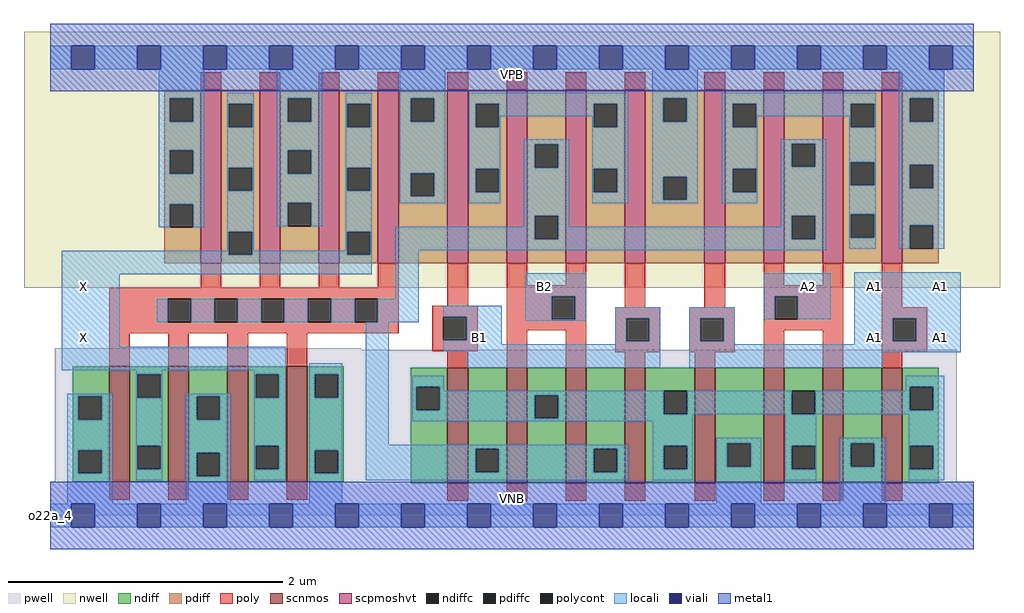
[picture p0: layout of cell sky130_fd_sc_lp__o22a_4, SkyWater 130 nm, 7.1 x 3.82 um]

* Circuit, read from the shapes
.subckt sky130_fd_sc_lp__o22a_4 A1 A2 B1 B2 VGND VNB VPB VPWR X
XM1 X n1 VGND VNB sky130_fd_pr__nfet_01v8 w=0.84 l=0.15 m=4
XM2 n1 B1 n2 VNB sky130_fd_pr__nfet_01v8 w=0.84 l=0.15 m=2
XM3 n2 B2 n1 VNB sky130_fd_pr__nfet_01v8 w=0.84 l=0.15 m=2
XM4 VGND A1 n2 VNB sky130_fd_pr__nfet_01v8 w=0.84 l=0.15 m=2
XM5 n2 A2 VGND VNB sky130_fd_pr__nfet_01v8 w=0.84 l=0.15 m=2
XM6 X n1 VPWR VPB sky130_fd_pr__pfet_01v8_hvt w=1.26 l=0.15 m=4
XM7 n3 B1 VPWR VPB sky130_fd_pr__pfet_01v8_hvt w=1.26 l=0.15 m=2
XM8 n1 B2 n3 VPB sky130_fd_pr__pfet_01v8_hvt w=1.26 l=0.15 m=2
XM9 n4 A1 VPWR VPB sky130_fd_pr__pfet_01v8_hvt w=1.26 l=0.15 m=2
XM10 n1 A2 n4 VPB sky130_fd_pr__pfet_01v8_hvt w=1.26 l=0.15 m=2
.ends

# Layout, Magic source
magic
tech sky130A
magscale 1 2
<< nwell >>
rect -38 331 1382 704
<< pwell >>
rect 7 241 453 243
rect 7 49 1319 241
rect 0 0 1344 49
<< scnmos >>
rect 86 49 116 217
rect 172 49 202 217
rect 258 49 288 217
rect 344 49 374 217
rect 578 47 608 215
rect 664 47 694 215
rect 750 47 780 215
rect 836 47 866 215
rect 938 47 968 215
rect 1038 47 1068 215
rect 1124 47 1154 215
rect 1210 47 1240 215
<< scpmoshvt >>
rect 219 367 249 619
rect 305 367 335 619
rect 391 367 421 619
rect 477 367 507 619
rect 578 367 608 619
rect 664 367 694 619
rect 750 367 780 619
rect 836 367 866 619
rect 952 367 982 619
rect 1038 367 1068 619
rect 1124 367 1154 619
rect 1210 367 1240 619
<< ndiff >>
rect 33 173 86 217
rect 33 139 41 173
rect 75 139 86 173
rect 33 95 86 139
rect 33 61 41 95
rect 75 61 86 95
rect 33 49 86 61
rect 116 205 172 217
rect 116 171 127 205
rect 161 171 172 205
rect 116 101 172 171
rect 116 67 127 101
rect 161 67 172 101
rect 116 49 172 67
rect 202 173 258 217
rect 202 139 213 173
rect 247 139 258 173
rect 202 91 258 139
rect 202 57 213 91
rect 247 57 258 91
rect 202 49 258 57
rect 288 205 344 217
rect 288 171 299 205
rect 333 171 344 205
rect 288 101 344 171
rect 288 67 299 101
rect 333 67 344 101
rect 288 49 344 67
rect 374 205 427 217
rect 374 171 385 205
rect 419 171 427 205
rect 374 95 427 171
rect 374 61 385 95
rect 419 61 427 95
rect 374 49 427 61
rect 525 187 578 215
rect 525 153 533 187
rect 567 153 578 187
rect 525 47 578 153
rect 608 97 664 215
rect 608 63 619 97
rect 653 63 664 97
rect 608 47 664 63
rect 694 175 750 215
rect 694 141 705 175
rect 739 141 750 175
rect 694 47 750 141
rect 780 97 836 215
rect 780 63 791 97
rect 825 63 836 97
rect 780 47 836 63
rect 866 181 938 215
rect 866 147 893 181
rect 927 147 938 181
rect 866 101 938 147
rect 866 67 893 101
rect 927 67 938 101
rect 866 47 938 67
rect 968 105 1038 215
rect 968 71 985 105
rect 1019 71 1038 105
rect 968 47 1038 71
rect 1068 181 1124 215
rect 1068 147 1079 181
rect 1113 147 1124 181
rect 1068 101 1124 147
rect 1068 67 1079 101
rect 1113 67 1124 101
rect 1068 47 1124 67
rect 1154 105 1210 215
rect 1154 71 1165 105
rect 1199 71 1210 105
rect 1154 47 1210 71
rect 1240 187 1293 215
rect 1240 153 1251 187
rect 1285 153 1293 187
rect 1240 101 1293 153
rect 1240 67 1251 101
rect 1285 67 1293 101
rect 1240 47 1293 67
<< pdiff >>
rect 166 607 219 619
rect 166 573 174 607
rect 208 573 219 607
rect 166 531 219 573
rect 166 497 174 531
rect 208 497 219 531
rect 166 453 219 497
rect 166 419 174 453
rect 208 419 219 453
rect 166 367 219 419
rect 249 599 305 619
rect 249 565 260 599
rect 294 565 305 599
rect 249 506 305 565
rect 249 472 260 506
rect 294 472 305 506
rect 249 413 305 472
rect 249 379 260 413
rect 294 379 305 413
rect 249 367 305 379
rect 335 607 391 619
rect 335 573 346 607
rect 380 573 391 607
rect 335 531 391 573
rect 335 497 346 531
rect 380 497 391 531
rect 335 455 391 497
rect 335 421 346 455
rect 380 421 391 455
rect 335 367 391 421
rect 421 599 477 619
rect 421 565 432 599
rect 466 565 477 599
rect 421 506 477 565
rect 421 472 432 506
rect 466 472 477 506
rect 421 413 477 472
rect 421 379 432 413
rect 466 379 477 413
rect 421 367 477 379
rect 507 607 578 619
rect 507 573 525 607
rect 559 573 578 607
rect 507 498 578 573
rect 507 464 525 498
rect 559 464 578 498
rect 507 367 578 464
rect 608 599 664 619
rect 608 565 619 599
rect 653 565 664 599
rect 608 504 664 565
rect 608 470 619 504
rect 653 470 664 504
rect 608 367 664 470
rect 694 540 750 619
rect 694 506 705 540
rect 739 506 750 540
rect 694 436 750 506
rect 694 402 705 436
rect 739 402 750 436
rect 694 367 750 402
rect 780 599 836 619
rect 780 565 791 599
rect 825 565 836 599
rect 780 504 836 565
rect 780 470 791 504
rect 825 470 836 504
rect 780 367 836 470
rect 866 607 952 619
rect 866 573 892 607
rect 926 573 952 607
rect 866 493 952 573
rect 866 459 892 493
rect 926 459 952 493
rect 866 367 952 459
rect 982 599 1038 619
rect 982 565 993 599
rect 1027 565 1038 599
rect 982 504 1038 565
rect 982 470 993 504
rect 1027 470 1038 504
rect 982 367 1038 470
rect 1068 541 1124 619
rect 1068 507 1079 541
rect 1113 507 1124 541
rect 1068 436 1124 507
rect 1068 402 1079 436
rect 1113 402 1124 436
rect 1068 367 1124 402
rect 1154 599 1210 619
rect 1154 565 1165 599
rect 1199 565 1210 599
rect 1154 514 1210 565
rect 1154 480 1165 514
rect 1199 480 1210 514
rect 1154 438 1210 480
rect 1154 404 1165 438
rect 1199 404 1210 438
rect 1154 367 1210 404
rect 1240 607 1293 619
rect 1240 573 1251 607
rect 1285 573 1293 607
rect 1240 510 1293 573
rect 1240 476 1251 510
rect 1285 476 1293 510
rect 1240 422 1293 476
rect 1240 388 1251 422
rect 1285 388 1293 422
rect 1240 367 1293 388
<< ndiffc >>
rect 41 139 75 173
rect 41 61 75 95
rect 127 171 161 205
rect 127 67 161 101
rect 213 139 247 173
rect 213 57 247 91
rect 299 171 333 205
rect 299 67 333 101
rect 385 171 419 205
rect 385 61 419 95
rect 533 153 567 187
rect 619 63 653 97
rect 705 141 739 175
rect 791 63 825 97
rect 893 147 927 181
rect 893 67 927 101
rect 985 71 1019 105
rect 1079 147 1113 181
rect 1079 67 1113 101
rect 1165 71 1199 105
rect 1251 153 1285 187
rect 1251 67 1285 101
<< pdiffc >>
rect 174 573 208 607
rect 174 497 208 531
rect 174 419 208 453
rect 260 565 294 599
rect 260 472 294 506
rect 260 379 294 413
rect 346 573 380 607
rect 346 497 380 531
rect 346 421 380 455
rect 432 565 466 599
rect 432 472 466 506
rect 432 379 466 413
rect 525 573 559 607
rect 525 464 559 498
rect 619 565 653 599
rect 619 470 653 504
rect 705 506 739 540
rect 705 402 739 436
rect 791 565 825 599
rect 791 470 825 504
rect 892 573 926 607
rect 892 459 926 493
rect 993 565 1027 599
rect 993 470 1027 504
rect 1079 507 1113 541
rect 1079 402 1113 436
rect 1165 565 1199 599
rect 1165 480 1199 514
rect 1165 404 1199 438
rect 1251 573 1285 607
rect 1251 476 1285 510
rect 1251 388 1285 422
<< poly >>
rect 219 619 249 645
rect 305 619 335 645
rect 391 619 421 645
rect 477 619 507 645
rect 578 619 608 645
rect 664 619 694 645
rect 750 619 780 645
rect 836 619 866 645
rect 952 619 982 645
rect 1038 619 1068 645
rect 1124 619 1154 645
rect 1210 619 1240 645
rect 219 331 249 367
rect 305 331 335 367
rect 391 331 421 367
rect 477 331 507 367
rect 86 315 507 331
rect 86 281 171 315
rect 205 281 239 315
rect 273 281 307 315
rect 341 281 375 315
rect 409 281 443 315
rect 477 281 507 315
rect 578 305 608 367
rect 664 335 694 367
rect 750 335 780 367
rect 664 319 780 335
rect 86 265 507 281
rect 556 289 622 305
rect 86 217 116 265
rect 172 217 202 265
rect 258 217 288 265
rect 344 217 374 265
rect 556 255 572 289
rect 606 255 622 289
rect 556 239 622 255
rect 664 285 730 319
rect 764 285 780 319
rect 836 303 866 367
rect 952 303 982 367
rect 1038 335 1068 367
rect 1124 335 1154 367
rect 1038 319 1154 335
rect 664 269 780 285
rect 578 215 608 239
rect 664 215 694 269
rect 750 215 780 269
rect 822 287 888 303
rect 822 253 838 287
rect 872 253 888 287
rect 822 237 888 253
rect 930 287 996 303
rect 930 253 946 287
rect 980 253 996 287
rect 930 237 996 253
rect 1038 285 1054 319
rect 1088 285 1154 319
rect 1038 269 1154 285
rect 836 215 866 237
rect 938 215 968 237
rect 1038 215 1068 269
rect 1124 215 1154 269
rect 1210 303 1240 367
rect 1210 287 1276 303
rect 1210 253 1226 287
rect 1260 253 1276 287
rect 1210 237 1276 253
rect 1210 215 1240 237
rect 86 23 116 49
rect 172 23 202 49
rect 258 23 288 49
rect 344 23 374 49
rect 578 21 608 47
rect 664 21 694 47
rect 750 21 780 47
rect 836 21 866 47
rect 938 21 968 47
rect 1038 21 1068 47
rect 1124 21 1154 47
rect 1210 21 1240 47
<< polycont >>
rect 171 281 205 315
rect 239 281 273 315
rect 307 281 341 315
rect 375 281 409 315
rect 443 281 477 315
rect 572 255 606 289
rect 730 285 764 319
rect 838 253 872 287
rect 946 253 980 287
rect 1054 285 1088 319
rect 1226 253 1260 287
<< locali >>
rect 0 649 31 683
rect 65 649 127 683
rect 161 649 223 683
rect 257 649 319 683
rect 353 649 415 683
rect 449 649 511 683
rect 545 649 607 683
rect 641 649 703 683
rect 737 649 799 683
rect 833 649 895 683
rect 929 649 991 683
rect 1025 649 1087 683
rect 1121 649 1183 683
rect 1217 649 1279 683
rect 1313 649 1344 683
rect 158 607 224 649
rect 158 573 174 607
rect 208 573 224 607
rect 158 531 224 573
rect 158 497 174 531
rect 208 497 224 531
rect 158 453 224 497
rect 158 419 174 453
rect 208 419 224 453
rect 258 599 296 615
rect 258 565 260 599
rect 294 565 296 599
rect 258 506 296 565
rect 258 472 260 506
rect 294 472 296 506
rect 258 413 296 472
rect 330 607 396 649
rect 330 573 346 607
rect 380 573 396 607
rect 330 531 396 573
rect 330 497 346 531
rect 380 497 396 531
rect 330 455 396 497
rect 330 421 346 455
rect 380 421 396 455
rect 430 599 468 615
rect 430 565 432 599
rect 466 565 468 599
rect 430 506 468 565
rect 430 472 432 506
rect 466 472 468 506
rect 258 385 260 413
rect 17 379 260 385
rect 294 385 296 413
rect 430 413 468 472
rect 509 607 575 649
rect 509 573 525 607
rect 559 573 575 607
rect 509 498 575 573
rect 509 464 525 498
rect 559 464 575 498
rect 509 454 575 464
rect 609 599 841 615
rect 609 565 619 599
rect 653 581 791 599
rect 653 565 655 581
rect 609 504 655 565
rect 789 565 791 581
rect 825 565 841 599
rect 609 470 619 504
rect 653 470 655 504
rect 609 454 655 470
rect 689 540 755 547
rect 689 506 705 540
rect 739 506 755 540
rect 689 436 755 506
rect 789 504 841 565
rect 789 470 791 504
rect 825 470 841 504
rect 789 454 841 470
rect 876 607 942 649
rect 876 573 892 607
rect 926 573 942 607
rect 876 493 942 573
rect 876 459 892 493
rect 926 459 942 493
rect 876 454 942 459
rect 977 599 1201 615
rect 977 565 993 599
rect 1027 581 1165 599
rect 1027 565 1029 581
rect 977 504 1029 565
rect 1163 565 1165 581
rect 1199 565 1201 599
rect 977 470 993 504
rect 1027 470 1029 504
rect 977 454 1029 470
rect 1063 541 1129 547
rect 1063 507 1079 541
rect 1113 507 1129 541
rect 689 420 705 436
rect 430 385 432 413
rect 294 379 432 385
rect 466 379 468 413
rect 17 351 468 379
rect 502 402 705 420
rect 739 420 755 436
rect 1063 436 1129 507
rect 1063 420 1079 436
rect 739 402 1079 420
rect 1113 402 1129 436
rect 502 386 1129 402
rect 1163 514 1201 565
rect 1163 480 1165 514
rect 1199 480 1201 514
rect 1163 438 1201 480
rect 1163 404 1165 438
rect 1199 404 1201 438
rect 1163 388 1201 404
rect 1235 607 1301 649
rect 1235 573 1251 607
rect 1285 573 1301 607
rect 1235 510 1301 573
rect 1235 476 1251 510
rect 1285 476 1301 510
rect 1235 422 1301 476
rect 1235 388 1251 422
rect 1285 388 1301 422
rect 17 245 101 351
rect 502 315 536 386
rect 155 281 171 315
rect 205 281 239 315
rect 273 281 307 315
rect 341 281 375 315
rect 409 281 443 315
rect 477 281 536 315
rect 691 319 780 352
rect 572 289 657 305
rect 17 211 343 245
rect 125 205 163 211
rect 25 173 91 177
rect 25 139 41 173
rect 75 139 91 173
rect 25 95 91 139
rect 25 61 41 95
rect 75 61 91 95
rect 25 17 91 61
rect 125 171 127 205
rect 161 171 163 205
rect 297 205 343 211
rect 125 101 163 171
rect 125 67 127 101
rect 161 67 163 101
rect 125 51 163 67
rect 197 173 263 177
rect 197 139 213 173
rect 247 139 263 173
rect 197 91 263 139
rect 197 57 213 91
rect 247 57 263 91
rect 197 17 263 57
rect 297 171 299 205
rect 333 171 343 205
rect 297 101 343 171
rect 297 67 299 101
rect 333 67 343 101
rect 297 51 343 67
rect 377 205 425 221
rect 377 171 385 205
rect 419 171 425 205
rect 377 95 425 171
rect 377 61 385 95
rect 419 61 425 95
rect 377 17 425 61
rect 459 103 493 281
rect 606 255 657 289
rect 691 285 730 319
rect 764 285 780 319
rect 1038 319 1136 352
rect 691 283 780 285
rect 822 287 888 303
rect 572 249 657 255
rect 822 253 838 287
rect 872 253 888 287
rect 822 249 888 253
rect 572 239 888 249
rect 607 215 888 239
rect 930 287 996 303
rect 930 253 946 287
rect 980 253 996 287
rect 1038 285 1054 319
rect 1088 285 1136 319
rect 1170 287 1325 354
rect 930 249 996 253
rect 1170 253 1226 287
rect 1260 253 1325 287
rect 1170 249 1325 253
rect 930 237 1325 249
rect 930 215 1211 237
rect 527 187 573 203
rect 527 153 533 187
rect 567 181 573 187
rect 1245 187 1301 203
rect 1245 181 1251 187
rect 567 175 893 181
rect 567 153 705 175
rect 527 141 705 153
rect 739 147 893 175
rect 927 147 1079 181
rect 1113 153 1251 181
rect 1285 153 1301 187
rect 1113 147 1301 153
rect 739 141 935 147
rect 527 137 935 141
rect 459 97 841 103
rect 459 63 619 97
rect 653 63 791 97
rect 825 63 841 97
rect 459 51 841 63
rect 877 101 935 137
rect 877 67 893 101
rect 927 67 935 101
rect 877 51 935 67
rect 969 105 1035 113
rect 969 71 985 105
rect 1019 71 1035 105
rect 969 17 1035 71
rect 1069 101 1115 147
rect 1069 67 1079 101
rect 1113 67 1115 101
rect 1069 51 1115 67
rect 1149 105 1215 113
rect 1149 71 1165 105
rect 1199 71 1215 105
rect 1149 17 1215 71
rect 1249 101 1301 147
rect 1249 67 1251 101
rect 1285 67 1301 101
rect 1249 51 1301 67
rect 0 -17 31 17
rect 65 -17 127 17
rect 161 -17 223 17
rect 257 -17 319 17
rect 353 -17 415 17
rect 449 -17 511 17
rect 545 -17 607 17
rect 641 -17 703 17
rect 737 -17 799 17
rect 833 -17 895 17
rect 929 -17 991 17
rect 1025 -17 1087 17
rect 1121 -17 1183 17
rect 1217 -17 1279 17
rect 1313 -17 1344 17
<< viali >>
rect 31 649 65 683
rect 127 649 161 683
rect 223 649 257 683
rect 319 649 353 683
rect 415 649 449 683
rect 511 649 545 683
rect 607 649 641 683
rect 703 649 737 683
rect 799 649 833 683
rect 895 649 929 683
rect 991 649 1025 683
rect 1087 649 1121 683
rect 1183 649 1217 683
rect 1279 649 1313 683
rect 31 -17 65 17
rect 127 -17 161 17
rect 223 -17 257 17
rect 319 -17 353 17
rect 415 -17 449 17
rect 511 -17 545 17
rect 607 -17 641 17
rect 703 -17 737 17
rect 799 -17 833 17
rect 895 -17 929 17
rect 991 -17 1025 17
rect 1087 -17 1121 17
rect 1183 -17 1217 17
rect 1279 -17 1313 17
<< metal1 >>
rect 0 683 1344 715
rect 0 649 31 683
rect 65 649 127 683
rect 161 649 223 683
rect 257 649 319 683
rect 353 649 415 683
rect 449 649 511 683
rect 545 649 607 683
rect 641 649 703 683
rect 737 649 799 683
rect 833 649 895 683
rect 929 649 991 683
rect 1025 649 1087 683
rect 1121 649 1183 683
rect 1217 649 1279 683
rect 1313 649 1344 683
rect 0 617 1344 649
rect 0 17 1344 49
rect 0 -17 31 17
rect 65 -17 127 17
rect 161 -17 223 17
rect 257 -17 319 17
rect 353 -17 415 17
rect 449 -17 511 17
rect 545 -17 607 17
rect 641 -17 703 17
rect 737 -17 799 17
rect 833 -17 895 17
rect 929 -17 991 17
rect 1025 -17 1087 17
rect 1121 -17 1183 17
rect 1217 -17 1279 17
rect 1313 -17 1344 17
rect 0 -49 1344 -17
<< labels >>
flabel pwell s 0 0 1344 49 0 FreeSans 200 0 0 0 VNB
port 6 nsew ground bidirectional
flabel nwell s 0 617 1344 666 0 FreeSans 200 0 0 0 VPB
port 7 nsew power bidirectional
rlabel comment s 0 0 0 0 4 o22a_4
flabel metal1 s 0 617 1344 666 0 FreeSans 340 0 0 0 VPWR
port 8 nsew power bidirectional
flabel metal1 s 0 0 1344 49 0 FreeSans 340 0 0 0 VGND
port 5 nsew ground bidirectional
flabel locali s 1087 316 1121 350 0 FreeSans 340 0 0 0 A2
port 2 nsew signal input
flabel locali s 703 316 737 350 0 FreeSans 340 0 0 0 B2
port 4 nsew signal input
flabel locali s 31 242 65 276 0 FreeSans 340 0 0 0 X
port 9 nsew signal output
flabel locali s 31 316 65 350 0 FreeSans 340 0 0 0 X
port 9 nsew signal output
flabel locali s 1183 242 1217 276 0 FreeSans 340 0 0 0 A1
port 1 nsew signal input
flabel locali s 1183 316 1217 350 0 FreeSans 340 0 0 0 A1
port 1 nsew signal input
flabel locali s 1279 242 1313 276 0 FreeSans 340 0 0 0 A1
port 1 nsew signal input
flabel locali s 1279 316 1313 350 0 FreeSans 340 0 0 0 A1
port 1 nsew signal input
flabel locali s 607 242 641 276 0 FreeSans 340 0 0 0 B1
port 3 nsew signal input
<< properties >>
string LEFsite unit
string LEFclass CORE
string FIXED_BBOX 0 0 1344 666
string GDS_FILE $PDKPATH/libs.ref/sky130_fd_sc_lp/gds/sky130_fd_sc_lp.gds
string LEFsymmetry X Y R90
string GDS_END 945302
string GDS_START 934076
<< end >>
